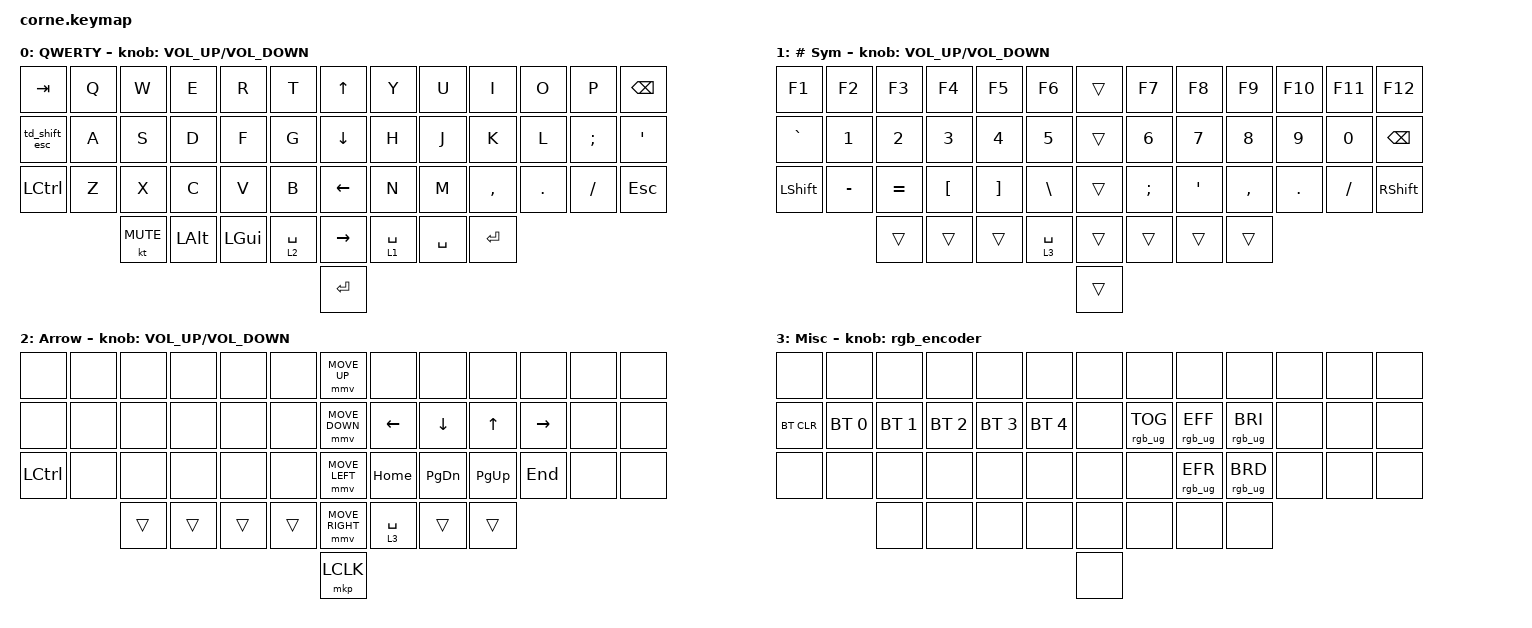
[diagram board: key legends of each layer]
#include <behaviors/mouse_keys.dtsi>
#include <behaviors.dtsi>
#include <dt-bindings/zmk/bt.h>
#include <dt-bindings/zmk/keys.h>
#include <dt-bindings/zmk/keys.h>
#include <dt-bindings/zmk/mouse.h>
#include <dt-bindings/zmk/rgb.h>

#define ZMK_MOUSE_DEFAULT_MOVE_VAL 1200  // 600
#define ZMK_MOUSE_DEFAULT_SCRL_VAL 20    // 10
#define U_MS_U &mmv MOVE_UP
#define U_MS_D &mmv MOVE_DOWN
#define U_MS_L &mmv MOVE_LEFT
#define U_MS_R &mmv MOVE_RIGHT

/ {
    behaviors {
        td0: td0 {
            compatible = "zmk,behavior-tap-dance";
            label = "TD0";
            #binding-cells = <0>;
            bindings = <&kp LEFT_SHIFT>, <&kp CAPS>;
        };

        td_shift_esc: td_shift_esc {
            compatible = "zmk,behavior-tap-dance";
            label = "TD_SHIFT_ESC";
            #binding-cells = <0>;
            bindings = <&kp LEFT_SHIFT>, <&kp ESCAPE>;
        };

        mmv {
            acceleration-exponent = <1>;      // 1
            time-to-max-speed-ms = <900>;    // 40
            delay-ms = <0>;                   // 0
        };

        msc {
            acceleration-exponent = <1>;      // 0
            time-to-max-speed-ms = <400>;      // 500
            delay-ms = <0>;                   // 10
        };
    };

    rgb_encoder: rgb_encoder {
        compatible = "zmk,behavior-sensor-rotate";
        label = "RGB_ENCODER";
        #sensor-binding-cells = <0>;
        bindings = <&rgb_ug RGB_BRI>, <&rgb_ug RGB_BRD>;
    };

    scroll_encoder: scroll_encoder {
        compatible = "zmk,behavior-sensor-rotate";
        #sensor-binding-cells = <0>;
        bindings = <&msc SCRL_DOWN>, <&msc SCRL_UP>;

        tap-ms = <30>;
    };

    keymap {
        compatible = "zmk,keymap";

        default_layer {
            display-name = "QWERTY";

            // --------------------------------------------------------------------------------
            // |  TAB |  Q  |  W  |  E  |  R  |  T  |                ↑    |  Y  |  U   |  I  |  O  |  P  | BKSP |      &kp UP_ARROW 
            // | SHIFT |  A  |  S  |  D  |  F  |  G  |               ↓    |  H  |  J   |  K  |  L  |  ;  |  '   | 
            // | CTRL |  Z  |  X  |  C  |  V  |  B  |                ←    |  N  |  M   |  ,  |  .  |  /  | ESC  |
            //                    | GUI | LWR | SPC |                →    | ENT | RSE  | ALT |
            //                                                      enter

            bindings = <
&kp TAB        &kp Q  &kp W       &kp E     &kp R     &kp T          &kp UP_ARROW     &kp Y        &kp U      &kp I      &kp O    &kp P     &kp BSPC
&td_shift_esc  &kp A  &kp S       &kp D     &kp F     &kp G          &kp DOWN_ARROW   &kp H        &kp J      &kp K      &kp L    &kp SEMI  &kp SQT
&kp LCTRL      &kp Z  &kp X       &kp C     &kp V     &kp B          &kp LEFT_ARROW   &kp N        &kp M      &kp COMMA  &kp DOT  &kp FSLH  &kp ESC
                      &kt C_MUTE  &kp LALT  &kp LGUI  &lt 2 SPACE    &kp RIGHT_ARROW  &lt 1 SPACE  &kp SPACE  &kp ENTER
                                                                     &kp ENTER
            >;

            label = "QWERTY";
            sensor-bindings = <&inc_dec_kp C_VOLUME_UP C_VOLUME_DOWN>;
        };

        num_sym {
            bindings = <
&kp F1          &kp F2        &kp F3        &kp F4        &kp F5        &kp F6          &trans  &kp F7        &kp F8        &kp F9        &kp F10       &kp F11       &kp F12
&kp GRAVE       &kp NUMBER_1  &kp NUMBER_2  &kp NUMBER_3  &kp NUMBER_4  &kp NUMBER_5    &trans  &kp NUMBER_6  &kp NUMBER_7  &kp NUMBER_8  &kp NUMBER_9  &kp NUMBER_0  &kp BSPC
&kp LEFT_SHIFT  &kp MINUS     &kp EQUAL     &kp LBKT      &kp RBKT      &kp BSLH        &trans  &kp SEMI      &kp SQT       &kp COMMA     &kp DOT       &kp FSLH      &kp RSHFT
                              &trans        &trans        &trans        &lt 3 SPACE     &trans  &trans        &trans        &trans
                                                                                        &trans
            >;

            sensor-bindings = <&inc_dec_kp C_VOLUME_UP C_VOLUME_DOWN>;
            label = "# Sym";
        };

        arrow {
            bindings = <
&none      &none  &none   &none   &none   &none     &mmv MOVE_UP     &none        &none      &none      &none      &none  &none
&none      &none  &none   &none   &none   &none     &mmv MOVE_DOWN   &kp LEFT     &kp DOWN   &kp UP     &kp RIGHT  &none  &none
&kp LCTRL  &none  &none   &none   &none   &none     &mmv MOVE_LEFT   &kp HOME     &kp PG_DN  &kp PG_UP  &kp END    &none  &none
                  &trans  &trans  &trans  &trans    &mmv MOVE_RIGHT  &lt 3 SPACE  &trans     &trans
                                                    &mkp LCLK
            >;

            sensor-bindings = <&inc_dec_kp C_VOLUME_UP C_VOLUME_DOWN>;
            label = "Arrow";
        };

        Misc {
            bindings = <
&none       &none         &none         &none         &none         &none           &none  &none            &none            &none            &none  &none  &none
&bt BT_CLR  &bt BT_SEL 0  &bt BT_SEL 1  &bt BT_SEL 2  &bt BT_SEL 3  &bt BT_SEL 4    &none  &rgb_ug RGB_TOG  &rgb_ug RGB_EFF  &rgb_ug RGB_BRI  &none  &none  &none
&none       &none         &none         &none         &none         &none           &none  &none            &rgb_ug RGB_EFR  &rgb_ug RGB_BRD  &none  &none  &none
                          &none         &none         &none         &none           &none  &none            &none            &none
                                                                                    &none
            >;

            label = "Misc";
            sensor-bindings = <&rgb_encoder>;
        };
    };
};
